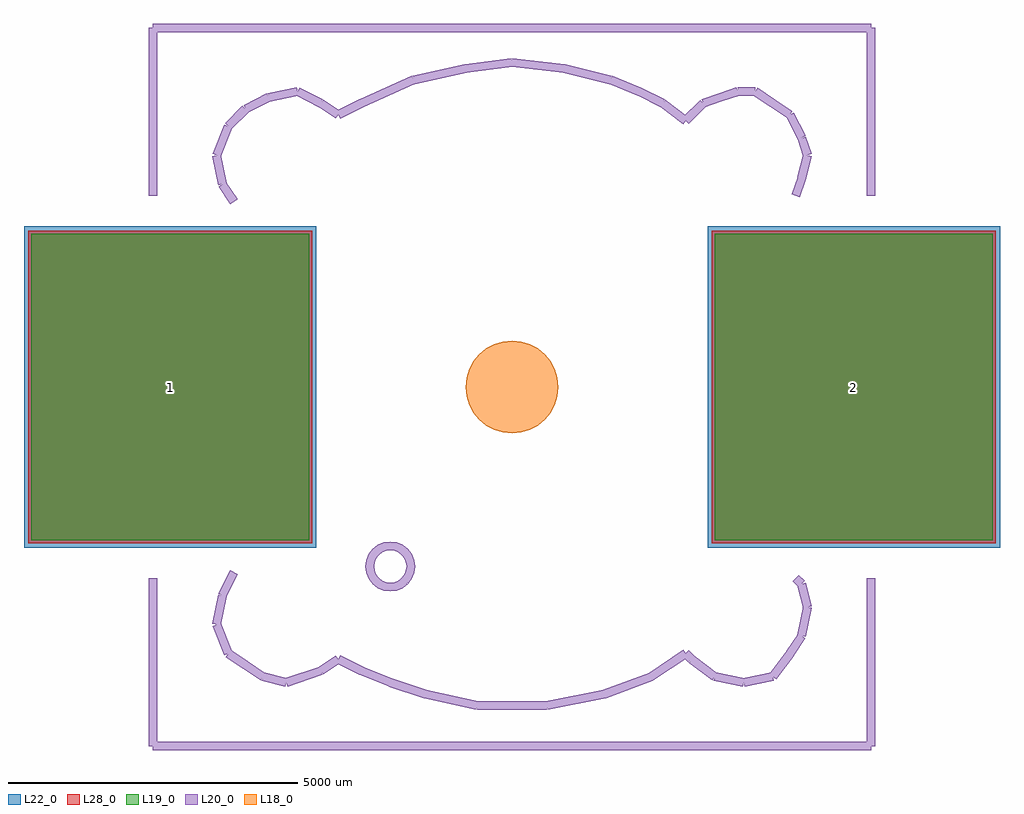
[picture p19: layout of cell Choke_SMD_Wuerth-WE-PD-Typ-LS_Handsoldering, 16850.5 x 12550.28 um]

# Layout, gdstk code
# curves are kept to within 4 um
import gdstk
lib = gdstk.Library(unit=1e-6, precision=1e-09)
def R(c, l, rs):  # rectangles x0, y0, x1, y1
    for r in rs: c.add(gdstk.rectangle(r[:2], r[2:], *l))
def P(c, l, *ps):  # polygons
    for p in ps: c.add(gdstk.Polygon(p, *l))
L18_0 = (18, 0)
L19_0 = (19, 0)
L20_0 = (20, 0)
L22_0 = (22, 0)
L28_0 = (28, 0)

choke_smd_wuerth_we_pd_t = lib.new_cell('Choke_SMD_Wuerth-WE-PD-Typ-LS_Handsoldering')
P(choke_smd_wuerth_we_pd_t, L18_0, [(100,0),(92.388,38.268),(70.711,70.711),(38.268,92.388),(0,100),(-38.268,92.388),(-70.711,70.711),(-92.388,38.268),(-100,0),(-92.388,-38.268),(-70.711,-70.711),(-38.268,-92.388),(0,-100),(38.268,-92.388),(70.711,-70.711),(92.388,-38.268)],
  [(300,0),(294.236,58.527),(277.164,114.805),(249.441,166.671),(212.132,212.132),(166.671,249.441),(114.805,277.164),(58.527,294.236),(0,300),(-58.527,294.236),(-114.805,277.164),(-166.671,249.441),(-212.132,212.132),(-249.441,166.671),(-277.164,114.805),(-294.236,58.527),(-300,0),(-294.236,-58.527),(-277.164,-114.805),(-249.441,-166.671),(-212.132,-212.132),(-166.671,-249.441),(-114.805,-277.164),(-58.527,-294.236),(0,-300),(58.527,-294.236),(114.805,-277.164),(166.671,-249.441),(212.132,-212.132),(249.441,-166.671),(277.164,-114.805),(294.236,-58.527)],
  [(600,0),(588.471,117.054),(554.328,229.61),(498.882,333.342),(424.264,424.264),(333.342,498.882),(229.61,554.328),(117.054,588.471),(0,600),(-117.054,588.471),(-229.61,554.328),(-333.342,498.882),(-424.264,424.264),(-498.882,333.342),(-554.328,229.61),(-588.471,117.054),(-600,0),(-588.471,-117.054),(-554.328,-229.61),(-498.882,-333.342),(-424.264,-424.264),(-333.342,-498.882),(-229.61,-554.328),(-117.054,-588.471),(0,-600),(117.054,-588.471),(229.61,-554.328),(333.342,-498.882),(424.264,-424.264),(498.882,-333.342),(554.328,-229.61),(588.471,-117.054)],
  [(800,0),(784.628,156.072),(739.104,306.147),(665.176,444.456),(565.685,565.685),(444.456,665.176),(306.147,739.104),(156.072,784.628),(0,800),(-156.072,784.628),(-306.147,739.104),(-444.456,665.176),(-565.685,565.685),(-665.176,444.456),(-739.104,306.147),(-784.628,156.072),(-800,0),(-784.628,-156.072),(-739.104,-306.147),(-665.176,-444.456),(-565.685,-565.685),(-444.456,-665.176),(-306.147,-739.104),(-156.072,-784.628),(0,-800),(156.072,-784.628),(306.147,-739.104),(444.456,-665.176),(565.685,-565.685),(665.176,-444.456),(739.104,-306.147),(784.628,-156.072)])
R(choke_smd_wuerth_we_pd_t, L19_0, [(-8300.25,-2650.02,-3500.59,2650.02), (3500.59,-2650.02,8300.25,2650.02)])
R(choke_smd_wuerth_we_pd_t, L22_0, [(-8425.25,-2775.02,-3375.59,2775.02), (3375.59,-2775.02,8425.25,2775.02)])
R(choke_smd_wuerth_we_pd_t, L28_0, [(-8350.25,-2700.02,-3450.59,2700.02), (3450.59,-2700.02,8350.25,2700.02)])
choke_smd_wuerth_we_pd_t.add(gdstk.FlexPath([(6200.14,6200.14),(6200.14,3299.46)], 149.998, ends="flush", simple_path=True, layer=20, datatype=0))  # L20_0
choke_smd_wuerth_we_pd_t.add(gdstk.FlexPath([(-6200.14,6200.14),(-6200.14,3299.46)], 149.998, ends="flush", simple_path=True, layer=20, datatype=0))  # L20_0
choke_smd_wuerth_we_pd_t.add(gdstk.FlexPath([(6200.14,6200.14),(-6200.14,6200.14)], 149.998, ends="flush", simple_path=True, layer=20, datatype=0))  # L20_0
choke_smd_wuerth_we_pd_t.add(gdstk.FlexPath([(6200.14,-6200.14),(6200.14,-3299.46)], 149.998, ends="flush", simple_path=True, layer=20, datatype=0))  # L20_0
choke_smd_wuerth_we_pd_t.add(gdstk.FlexPath([(-6200.14,-6200.14),(6200.14,-6200.14)], 149.998, ends="flush", simple_path=True, layer=20, datatype=0))  # L20_0
choke_smd_wuerth_we_pd_t.add(gdstk.FlexPath([(-6200.14,-3299.46),(-6200.14,-6200.14)], 149.998, ends="flush", simple_path=True, layer=20, datatype=0))  # L20_0
choke_smd_wuerth_we_pd_t.add(gdstk.FlexPath([(-5001.26,3500.12),(-4800.6,3200.4)], 149.998, ends="flush", simple_path=True, layer=20, datatype=0))  # L20_0
choke_smd_wuerth_we_pd_t.add(gdstk.FlexPath([(-5100.32,4000.5),(-5001.26,3500.12)], 149.998, ends="flush", simple_path=True, layer=20, datatype=0))  # L20_0
choke_smd_wuerth_we_pd_t.add(gdstk.FlexPath([(-4899.66,4500.88),(-5100.32,4000.5)], 149.998, ends="flush", simple_path=True, layer=20, datatype=0))  # L20_0
choke_smd_wuerth_we_pd_t.add(gdstk.FlexPath([(-4599.94,4800.6),(-4899.66,4500.88)], 149.998, ends="flush", simple_path=True, layer=20, datatype=0))  # L20_0
choke_smd_wuerth_we_pd_t.add(gdstk.FlexPath([(-4201.16,5001.26),(-4599.94,4800.6)], 149.998, ends="flush", simple_path=True, layer=20, datatype=0))  # L20_0
choke_smd_wuerth_we_pd_t.add(gdstk.FlexPath([(-3700.78,5100.32),(-4201.16,5001.26)], 149.998, ends="flush", simple_path=True, layer=20, datatype=0))  # L20_0
choke_smd_wuerth_we_pd_t.add(gdstk.FlexPath([(-3299.46,4899.66),(-3700.78,5100.32)], 149.998, ends="flush", simple_path=True, layer=20, datatype=0))  # L20_0
choke_smd_wuerth_we_pd_t.add(gdstk.FlexPath([(-2999.74,4699),(-3299.46,4899.66)], 149.998, ends="flush", simple_path=True, layer=20, datatype=0))  # L20_0
choke_smd_wuerth_we_pd_t.add(gdstk.FlexPath([(-2600.96,4899.66),(-2999.74,4699)], 149.998, ends="flush", simple_path=True, layer=20, datatype=0))  # L20_0
choke_smd_wuerth_we_pd_t.add(gdstk.FlexPath([(-1699.26,5300.98),(-2600.96,4899.66)], 149.998, ends="flush", simple_path=True, layer=20, datatype=0))  # L20_0
choke_smd_wuerth_we_pd_t.add(gdstk.FlexPath([(-800.1,5499.1),(-1699.26,5300.98)], 149.998, ends="flush", simple_path=True, layer=20, datatype=0))  # L20_0
choke_smd_wuerth_we_pd_t.add(gdstk.FlexPath([(0,5600.7),(-800.1,5499.1)], 149.998, ends="flush", simple_path=True, layer=20, datatype=0))  # L20_0
choke_smd_wuerth_we_pd_t.add(gdstk.FlexPath([(899.16,5499.1),(0,5600.7)], 149.998, ends="flush", simple_path=True, layer=20, datatype=0))  # L20_0
choke_smd_wuerth_we_pd_t.add(gdstk.FlexPath([(1699.26,5300.98),(899.16,5499.1)], 149.998, ends="flush", simple_path=True, layer=20, datatype=0))  # L20_0
choke_smd_wuerth_we_pd_t.add(gdstk.FlexPath([(2199.64,5100.32),(1699.26,5300.98)], 149.998, ends="flush", simple_path=True, layer=20, datatype=0))  # L20_0
choke_smd_wuerth_we_pd_t.add(gdstk.FlexPath([(2600.96,4899.66),(2199.64,5100.32)], 149.998, ends="flush", simple_path=True, layer=20, datatype=0))  # L20_0
choke_smd_wuerth_we_pd_t.add(gdstk.FlexPath([(2999.74,4599.94),(2600.96,4899.66)], 149.998, ends="flush", simple_path=True, layer=20, datatype=0))  # L20_0
choke_smd_wuerth_we_pd_t.add(gdstk.FlexPath([(3299.46,4899.66),(2999.74,4599.94)], 149.998, ends="flush", simple_path=True, layer=20, datatype=0))  # L20_0
choke_smd_wuerth_we_pd_t.add(gdstk.FlexPath([(3599.18,5001.26),(3299.46,4899.66)], 149.998, ends="flush", simple_path=True, layer=20, datatype=0))  # L20_0
choke_smd_wuerth_we_pd_t.add(gdstk.FlexPath([(3898.9,5100.32),(3599.18,5001.26)], 149.998, ends="flush", simple_path=True, layer=20, datatype=0))  # L20_0
choke_smd_wuerth_we_pd_t.add(gdstk.FlexPath([(4201.16,5100.32),(3898.9,5100.32)], 149.998, ends="flush", simple_path=True, layer=20, datatype=0))  # L20_0
choke_smd_wuerth_we_pd_t.add(gdstk.FlexPath([(4500.88,4899.66),(4201.16,5100.32)], 149.998, ends="flush", simple_path=True, layer=20, datatype=0))  # L20_0
choke_smd_wuerth_we_pd_t.add(gdstk.FlexPath([(4800.6,4699),(4500.88,4899.66)], 149.998, ends="flush", simple_path=True, layer=20, datatype=0))  # L20_0
choke_smd_wuerth_we_pd_t.add(gdstk.FlexPath([(5001.26,4300.22),(4800.6,4699)], 149.998, ends="flush", simple_path=True, layer=20, datatype=0))  # L20_0
choke_smd_wuerth_we_pd_t.add(gdstk.FlexPath([(5100.32,4000.5),(5001.26,4300.22)], 149.998, ends="flush", simple_path=True, layer=20, datatype=0))  # L20_0
choke_smd_wuerth_we_pd_t.add(gdstk.FlexPath([(5001.26,3599.18),(5100.32,4000.5)], 149.998, ends="flush", simple_path=True, layer=20, datatype=0))  # L20_0
choke_smd_wuerth_we_pd_t.add(gdstk.FlexPath([(4899.66,3299.46),(5001.26,3599.18)], 149.998, ends="flush", simple_path=True, layer=20, datatype=0))  # L20_0
choke_smd_wuerth_we_pd_t.add(gdstk.FlexPath([(-5001.26,-3599.18),(-4800.6,-3200.4)], 149.998, ends="flush", simple_path=True, layer=20, datatype=0))  # L20_0
choke_smd_wuerth_we_pd_t.add(gdstk.FlexPath([(-5100.32,-4099.56),(-5001.26,-3599.18)], 149.998, ends="flush", simple_path=True, layer=20, datatype=0))  # L20_0
choke_smd_wuerth_we_pd_t.add(gdstk.FlexPath([(-4899.66,-4599.94),(-5100.32,-4099.56)], 149.998, ends="flush", simple_path=True, layer=20, datatype=0))  # L20_0
choke_smd_wuerth_we_pd_t.add(gdstk.FlexPath([(-4599.94,-4800.6),(-4899.66,-4599.94)], 149.998, ends="flush", simple_path=True, layer=20, datatype=0))  # L20_0
choke_smd_wuerth_we_pd_t.add(gdstk.FlexPath([(-4300.22,-5001.26),(-4599.94,-4800.6)], 149.998, ends="flush", simple_path=True, layer=20, datatype=0))  # L20_0
choke_smd_wuerth_we_pd_t.add(gdstk.FlexPath([(-3898.9,-5100.32),(-4300.22,-5001.26)], 149.998, ends="flush", simple_path=True, layer=20, datatype=0))  # L20_0
choke_smd_wuerth_we_pd_t.add(gdstk.FlexPath([(-3299.46,-4899.66),(-3898.9,-5100.32)], 149.998, ends="flush", simple_path=True, layer=20, datatype=0))  # L20_0
choke_smd_wuerth_we_pd_t.add(gdstk.FlexPath([(-2999.74,-4699),(-3299.46,-4899.66)], 149.998, ends="flush", simple_path=True, layer=20, datatype=0))  # L20_0
choke_smd_wuerth_we_pd_t.add(gdstk.FlexPath([(-2600.96,-4899.66),(-2999.74,-4699)], 149.998, ends="flush", simple_path=True, layer=20, datatype=0))  # L20_0
choke_smd_wuerth_we_pd_t.add(gdstk.FlexPath([(-2100.58,-5100.32),(-2600.96,-4899.66)], 149.998, ends="flush", simple_path=True, layer=20, datatype=0))  # L20_0
choke_smd_wuerth_we_pd_t.add(gdstk.FlexPath([(-1501.14,-5300.98),(-2100.58,-5100.32)], 149.998, ends="flush", simple_path=True, layer=20, datatype=0))  # L20_0
choke_smd_wuerth_we_pd_t.add(gdstk.FlexPath([(-599.44,-5499.1),(-1501.14,-5300.98)], 149.998, ends="flush", simple_path=True, layer=20, datatype=0))  # L20_0
choke_smd_wuerth_we_pd_t.add(gdstk.FlexPath([(599.44,-5499.1),(-599.44,-5499.1)], 149.998, ends="flush", simple_path=True, layer=20, datatype=0))  # L20_0
choke_smd_wuerth_we_pd_t.add(gdstk.FlexPath([(1600.2,-5300.98),(599.44,-5499.1)], 149.998, ends="flush", simple_path=True, layer=20, datatype=0))  # L20_0
choke_smd_wuerth_we_pd_t.add(gdstk.FlexPath([(2400.3,-5001.26),(1600.2,-5300.98)], 149.998, ends="flush", simple_path=True, layer=20, datatype=0))  # L20_0
choke_smd_wuerth_we_pd_t.add(gdstk.FlexPath([(2999.74,-4599.94),(2400.3,-5001.26)], 149.998, ends="flush", simple_path=True, layer=20, datatype=0))  # L20_0
choke_smd_wuerth_we_pd_t.add(gdstk.FlexPath([(3098.8,-4699),(2999.74,-4599.94)], 149.998, ends="flush", simple_path=True, layer=20, datatype=0))  # L20_0
choke_smd_wuerth_we_pd_t.add(gdstk.FlexPath([(3500.12,-5001.26),(3098.8,-4699)], 149.998, ends="flush", simple_path=True, layer=20, datatype=0))  # L20_0
choke_smd_wuerth_we_pd_t.add(gdstk.FlexPath([(4000.5,-5100.32),(3500.12,-5001.26)], 149.998, ends="flush", simple_path=True, layer=20, datatype=0))  # L20_0
choke_smd_wuerth_we_pd_t.add(gdstk.FlexPath([(4500.88,-5001.26),(4000.5,-5100.32)], 149.998, ends="flush", simple_path=True, layer=20, datatype=0))  # L20_0
choke_smd_wuerth_we_pd_t.add(gdstk.FlexPath([(4800.6,-4599.94),(4500.88,-5001.26)], 149.998, ends="flush", simple_path=True, layer=20, datatype=0))  # L20_0
choke_smd_wuerth_we_pd_t.add(gdstk.FlexPath([(5001.26,-4300.22),(4800.6,-4599.94)], 149.998, ends="flush", simple_path=True, layer=20, datatype=0))  # L20_0
choke_smd_wuerth_we_pd_t.add(gdstk.FlexPath([(5100.32,-3799.84),(5001.26,-4300.22)], 149.998, ends="flush", simple_path=True, layer=20, datatype=0))  # L20_0
choke_smd_wuerth_we_pd_t.add(gdstk.FlexPath([(5001.26,-3401.06),(5100.32,-3799.84)], 149.998, ends="flush", simple_path=True, layer=20, datatype=0))  # L20_0
choke_smd_wuerth_we_pd_t.add(gdstk.FlexPath([(4899.66,-3299.46),(5001.26,-3401.06)], 149.998, ends="flush", simple_path=True, layer=20, datatype=0))  # L20_0
choke_smd_wuerth_we_pd_t.add(gdstk.FlexPath([(-1849.12,-3350.26),(-1792.606,-3276.609),(-1757.079,-3190.841),(-1744.962,-3098.8),(-1757.079,-3006.759),(-1792.606,-2920.991),(-1849.12,-2847.34),(-1922.771,-2790.826),(-2008.539,-2755.299),(-2100.58,-2743.182),(-2192.621,-2755.299),(-2278.389,-2790.826),(-2352.04,-2847.34),(-2408.554,-2920.991),(-2444.081,-3006.759),(-2456.198,-3098.8),(-2444.081,-3190.841),(-2408.554,-3276.609),(-2352.04,-3350.26),(-2278.389,-3406.774),(-2192.621,-3442.301),(-2100.58,-3454.418),(-2008.539,-3442.301),(-1922.771,-3406.774),(-1849.12,-3350.26)], 149.998, ends="flush", simple_path=True, layer=20, datatype=0))  # L20_0
choke_smd_wuerth_we_pd_t.add(gdstk.Label('2', (5900.42,0), layer=28, texttype=0))
choke_smd_wuerth_we_pd_t.add(gdstk.Label('1', (-5900.42,0), layer=28, texttype=0))
choke_smd_wuerth_we_pd_t.add(gdstk.Label('type', (0,-8890), layer=9, texttype=0))
choke_smd_wuerth_we_pd_t.add(gdstk.Label('devicename', (0,8890), layer=9, texttype=0))

lib.write_gds('Choke_SMD_Wuerth-WE-PD-Typ-LS_Handsoldering.gds')
